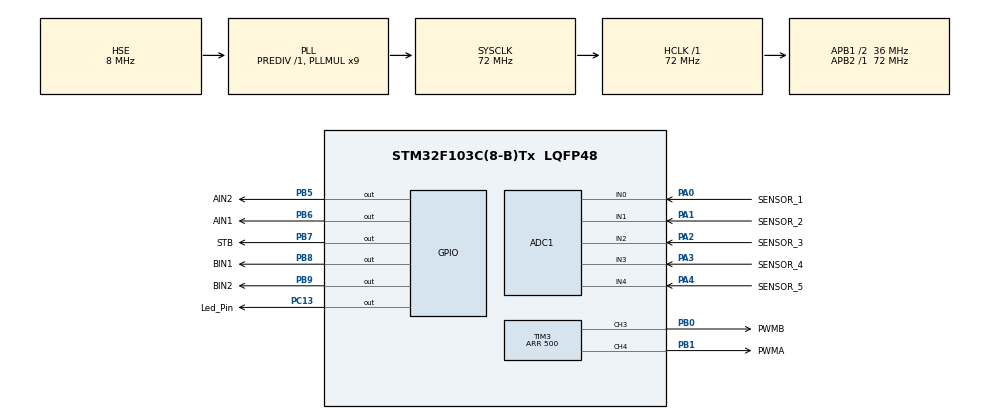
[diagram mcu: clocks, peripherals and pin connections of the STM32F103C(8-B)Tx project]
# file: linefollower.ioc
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ADC1.Channel-0\#ChannelRegularConversion=ADC_CHANNEL_0
ADC1.Channel-1\#ChannelRegularConversion=ADC_CHANNEL_1
ADC1.Channel-2\#ChannelRegularConversion=ADC_CHANNEL_2
ADC1.Channel-3\#ChannelRegularConversion=ADC_CHANNEL_3
ADC1.Channel-4\#ChannelRegularConversion=ADC_CHANNEL_4
ADC1.ContinuousConvMode=DISABLE
ADC1.DiscontinuousConvMode=DISABLE
ADC1.InjNumberOfConversion=0
ADC1.NbrOfConversion=5
ADC1.NbrOfConversionFlag=1
ADC1.Rank-0\#ChannelRegularConversion=1
ADC1.Rank-1\#ChannelRegularConversion=2
ADC1.Rank-2\#ChannelRegularConversion=3
ADC1.Rank-3\#ChannelRegularConversion=4
ADC1.Rank-4\#ChannelRegularConversion=5
ADC1.SamplingTime-0\#ChannelRegularConversion=ADC_SAMPLETIME_71CYCLES_5
ADC1.SamplingTime-1\#ChannelRegularConversion=ADC_SAMPLETIME_71CYCLES_5
ADC1.SamplingTime-2\#ChannelRegularConversion=ADC_SAMPLETIME_71CYCLES_5
ADC1.SamplingTime-3\#ChannelRegularConversion=ADC_SAMPLETIME_71CYCLES_5
ADC1.SamplingTime-4\#ChannelRegularConversion=ADC_SAMPLETIME_71CYCLES_5
ADC1.master=1
Dma.ADC1.0.Direction=DMA_PERIPH_TO_MEMORY
Dma.ADC1.0.Instance=DMA1_Channel1
Dma.ADC1.0.MemDataAlignment=DMA_MDATAALIGN_WORD
Dma.ADC1.0.MemInc=DMA_MINC_ENABLE
Dma.ADC1.0.Mode=DMA_CIRCULAR
Dma.ADC1.0.PeriphDataAlignment=DMA_PDATAALIGN_WORD
Dma.ADC1.0.PeriphInc=DMA_PINC_DISABLE
Dma.ADC1.0.Priority=DMA_PRIORITY_LOW
Dma.Request0=ADC1
Mcu.Family=STM32F1
Mcu.Name=STM32F103C(8-B)Tx
Mcu.Package=LQFP48
NVIC.ADC1_2_IRQn=true\:0\:0\:false\:false\:true\:true\:true
NVIC.DMA1_Channel1_IRQn=true\:0\:0\:false\:false\:true\:false\:true
NVIC.PriorityGroup=NVIC_PRIORITYGROUP_4
PA0-WKUP.GPIO_Label=SENSOR_1
PA0-WKUP.Signal=ADCx_IN0
PA1.GPIO_Label=SENSOR_2
PA1.Signal=ADCx_IN1
PA13.Mode=Serial_Wire
PA13.Signal=SYS_JTMS-SWDIO
PA14.Mode=Serial_Wire
PA14.Signal=SYS_JTCK-SWCLK
PA2.GPIO_Label=SENSOR_3
PA2.Signal=ADCx_IN2
PA3.GPIO_Label=SENSOR_4
PA3.Signal=ADCx_IN3
PA4.GPIO_Label=SENSOR_5
PA4.Signal=ADCx_IN4
PB0.GPIO_Label=PWMB
PB0.Signal=S_TIM3_CH3
PB1.GPIO_Label=PWMA
PB1.Signal=S_TIM3_CH4
PB5.GPIO_Label=AIN2
PB5.Signal=GPIO_Output
PB6.GPIO_Label=AIN1
PB6.Signal=GPIO_Output
PB7.GPIO_Label=STB
PB7.Signal=GPIO_Output
PB8.GPIO_Label=BIN1
PB8.Signal=GPIO_Output
PB9.GPIO_Label=BIN2
PB9.Signal=GPIO_Output
PC13-TAMPER-RTC.GPIO_Label=Led_Pin
PC13-TAMPER-RTC.GPIO_PuPd=GPIO_PULLDOWN
PC13-TAMPER-RTC.Signal=GPIO_Output
PD0-OSC_IN.Mode=HSE-External-Oscillator
PD0-OSC_IN.Signal=RCC_OSC_IN
PD1-OSC_OUT.Mode=HSE-External-Oscillator
PD1-OSC_OUT.Signal=RCC_OSC_OUT
ProjectManager.HeapSize=0x200
ProjectManager.StackSize=0x400
ProjectManager.TargetToolchain=TrueSTUDIO
RCC.AHBFreq_Value=28000000
RCC.APB1CLKDivider=RCC_HCLK_DIV2
RCC.APB1Freq_Value=36000000
RCC.APB1TimFreq_Value=72000000
RCC.APB2Freq_Value=72000000
RCC.APB2TimFreq_Value=72000000
RCC.HCLKFreq_Value=72000000
RCC.PLLMUL=RCC_PLL_MUL9
RCC.PLLSourceVirtual=RCC_PLLSOURCE_HSE
RCC.SYSCLKFreq_VALUE=72000000
RCC.SYSCLKSource=RCC_SYSCLKSOURCE_PLLCLK
RCC.USBFreq_Value=72000000
SH.ADCx_IN0.0=ADC1_IN0,IN0
SH.ADCx_IN1.0=ADC1_IN1,IN1
SH.ADCx_IN2.0=ADC1_IN2,IN2
SH.ADCx_IN3.0=ADC1_IN3,IN3
SH.ADCx_IN4.0=ADC1_IN4,IN4
SH.S_TIM3_CH3.0=TIM3_CH3,PWM Generation3 CH3
SH.S_TIM3_CH4.0=TIM3_CH4,PWM Generation4 CH4
TIM3.Channel-PWM\ Generation3\ CH3=TIM_CHANNEL_3
TIM3.Channel-PWM\ Generation4\ CH4=TIM_CHANNEL_4
TIM3.Period=500
VP_TIM3_VS_ClockSourceINT.Mode=Internal
board=custom

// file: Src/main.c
/* USER CODE BEGIN Header */
/**
  ******************************************************************************
  * @file           : main.c
  * @brief          : Main program body
  ******************************************************************************
  ** This notice applies to any and all portions of this file
  * that are not between comment pairs USER CODE BEGIN and
  * USER CODE END. Other portions of this file, whether
  * inserted by the user or by software development tools
  * are owned by their respective copyright owners.
  *
  * COPYRIGHT(c) 2019 STMicroelectronics
  *
  * Redistribution and use in source and binary forms, with or without modification,
  * are permitted provided that the following conditions are met:
  *   1. Redistributions of source code must retain the above copyright notice,
  *      this list of conditions and the following disclaimer.
  *   2. Redistributions in binary form must reproduce the above copyright notice,
  *      this list of conditions and the following disclaimer in the documentation
  *      and/or other materials provided with the distribution.
  *   3. Neither the name of STMicroelectronics nor the names of its contributors
  *      may be used to endorse or promote products derived from this software
  *      without specific prior written permission.
  *
  * THIS SOFTWARE IS PROVIDED BY THE COPYRIGHT HOLDERS AND CONTRIBUTORS "AS IS"
  * AND ANY EXPRESS OR IMPLIED WARRANTIES, INCLUDING, BUT NOT LIMITED TO, THE
  * IMPLIED WARRANTIES OF MERCHANTABILITY AND FITNESS FOR A PARTICULAR PURPOSE ARE
  * DISCLAIMED. IN NO EVENT SHALL THE COPYRIGHT HOLDER OR CONTRIBUTORS BE LIABLE
  * FOR ANY DIRECT, INDIRECT, INCIDENTAL, SPECIAL, EXEMPLARY, OR CONSEQUENTIAL
  * DAMAGES (INCLUDING, BUT NOT LIMITED TO, PROCUREMENT OF SUBSTITUTE GOODS OR
  * SERVICES; LOSS OF USE, DATA, OR PROFITS; OR BUSINESS INTERRUPTION) HOWEVER
  * CAUSED AND ON ANY THEORY OF LIABILITY, WHETHER IN CONTRACT, STRICT LIABILITY,
  * OR TORT (INCLUDING NEGLIGENCE OR OTHERWISE) ARISING IN ANY WAY OUT OF THE USE
  * OF THIS SOFTWARE, EVEN IF ADVISED OF THE POSSIBILITY OF SUCH DAMAGE.
  *
  ******************************************************************************
  */
/* USER CODE END Header */

#include "main.h"

/* USER CODE BEGIN Includes */
#include "stm32f1xx_hal.h"
#include "linefollower.h"
/* USER CODE END Includes */

ADC_HandleTypeDef hadc1;
DMA_HandleTypeDef hdma_adc1;

TIM_HandleTypeDef htim3;

/* USER CODE BEGIN PV */
uint32_t temp[5];
uint8_t flag = 0;
PD_CONTROLLER pd;
LF lf;
uint8_t sensors_tab = 0x00;
uint32_t adc = 0;
/* USER CODE END PV */

void SystemClock_Config(void);
static void MX_GPIO_Init(void);
static void MX_DMA_Init(void);
static void MX_ADC1_Init(void);
static void MX_TIM3_Init(void);

int main(void)
{

  /* MCU Configuration--------------------------------------------------------*/

  /* Reset of all peripherals, Initializes the Flash interface and the Systick. */
  HAL_Init();

  /* Configure the system clock */
  SystemClock_Config();

  /* Initialize all configured peripherals */
  MX_GPIO_Init();
  MX_DMA_Init();
  MX_ADC1_Init();
  MX_TIM3_Init();

  /* Infinite loop */
  /* USER CODE BEGIN WHILE */
  HAL_Delay(100);
  HAL_GPIO_WritePin(STB_GPIO_Port, STB_Pin, SET);
  HAL_Delay(100);
  HAL_GPIO_WritePin(AIN1_GPIO_Port, AIN1_Pin, RESET);
  HAL_GPIO_WritePin(AIN2_GPIO_Port, AIN2_Pin, SET);
  HAL_GPIO_WritePin(BIN1_GPIO_Port, BIN1_Pin, RESET);
  HAL_GPIO_WritePin(BIN2_GPIO_Port, BIN2_Pin, SET);
  __HAL_TIM_SET_COMPARE(&htim3, TIM_CHANNEL_3, lf.pulse_R);
  __HAL_TIM_SET_COMPARE(&htim3, TIM_CHANNEL_4, lf.pulse_L);
  HAL_TIM_PWM_Start(&htim3, TIM_CHANNEL_3);
  HAL_TIM_PWM_Start(&htim3, TIM_CHANNEL_4);

  HAL_ADC_Start_DMA(&hadc1, temp, 5);
  HAL_ADC_Start_IT(&hadc1);

  while (1)
  {
	  HAL_ADC_Start_IT(&hadc1);

	  if(PD_SetError(&pd, &sensors_tab) == PD_ERROR)
		  LF_Stop(&lf);
	  else
	  {
		  PD_CallculateErrorValue(&pd);
		  LF_SetPWMPulse(&lf, pd);
	  }
	  __HAL_TIM_SET_COMPARE(&htim3, TIM_CHANNEL_3, BASE_PWM_PULSE);
	  __HAL_TIM_SET_COMPARE(&htim3, TIM_CHANNEL_4, lf.pulse_L);
    /* USER CODE END WHILE */

    /* USER CODE BEGIN 3 */
	  HAL_GPIO_TogglePin(Led_Pin_GPIO_Port,Led_Pin_Pin);
	  HAL_Delay(500);
  }
  /* USER CODE END 3 */
}

void SystemClock_Config(void)
{
  RCC_OscInitTypeDef RCC_OscInitStruct = {0};
  RCC_ClkInitTypeDef RCC_ClkInitStruct = {0};
  RCC_PeriphCLKInitTypeDef PeriphClkInit = {0};

  /** Initializes the CPU, AHB and APB busses clocks
  */
  RCC_OscInitStruct.OscillatorType = RCC_OSCILLATORTYPE_HSE;
  RCC_OscInitStruct.HSEState = RCC_HSE_ON;
  RCC_OscInitStruct.HSEPredivValue = RCC_HSE_PREDIV_DIV1;
  RCC_OscInitStruct.HSIState = RCC_HSI_ON;
  RCC_OscInitStruct.PLL.PLLState = RCC_PLL_ON;
  RCC_OscInitStruct.PLL.PLLSource = RCC_PLLSOURCE_HSE;
  RCC_OscInitStruct.PLL.PLLMUL = RCC_PLL_MUL9;
  if (HAL_RCC_OscConfig(&RCC_OscInitStruct) != HAL_OK)
  {
    Error_Handler();
  }
  /** Initializes the CPU, AHB and APB busses clocks
  */
  RCC_ClkInitStruct.ClockType = RCC_CLOCKTYPE_HCLK|RCC_CLOCKTYPE_SYSCLK
                              |RCC_CLOCKTYPE_PCLK1|RCC_CLOCKTYPE_PCLK2;
  RCC_ClkInitStruct.SYSCLKSource = RCC_SYSCLKSOURCE_PLLCLK;
  RCC_ClkInitStruct.AHBCLKDivider = RCC_SYSCLK_DIV1;
  RCC_ClkInitStruct.APB1CLKDivider = RCC_HCLK_DIV2;
  RCC_ClkInitStruct.APB2CLKDivider = RCC_HCLK_DIV1;

  if (HAL_RCC_ClockConfig(&RCC_ClkInitStruct, FLASH_LATENCY_2) != HAL_OK)
  {
    Error_Handler();
  }
  PeriphClkInit.PeriphClockSelection = RCC_PERIPHCLK_ADC;
  PeriphClkInit.AdcClockSelection = RCC_ADCPCLK2_DIV6;
  if (HAL_RCCEx_PeriphCLKConfig(&PeriphClkInit) != HAL_OK)
  {
    Error_Handler();
  }
}

static void MX_ADC1_Init(void)
{

  ADC_ChannelConfTypeDef sConfig = {0};

  /** Common config
  */
  hadc1.Instance = ADC1;
  hadc1.Init.ScanConvMode = ADC_SCAN_ENABLE;
  hadc1.Init.ContinuousConvMode = DISABLE;
  hadc1.Init.DiscontinuousConvMode = DISABLE;
  hadc1.Init.ExternalTrigConv = ADC_SOFTWARE_START;
  hadc1.Init.DataAlign = ADC_DATAALIGN_RIGHT;
  hadc1.Init.NbrOfConversion = 5;
  if (HAL_ADC_Init(&hadc1) != HAL_OK)
  {
    Error_Handler();
  }
  /** Configure Regular Channel
  */
  sConfig.Channel = ADC_CHANNEL_0;
  sConfig.Rank = ADC_REGULAR_RANK_1;
  sConfig.SamplingTime = ADC_SAMPLETIME_71CYCLES_5;
  if (HAL_ADC_ConfigChannel(&hadc1, &sConfig) != HAL_OK)
  {
    Error_Handler();
  }
  /** Configure Regular Channel
  */
  sConfig.Channel = ADC_CHANNEL_1;
  sConfig.Rank = ADC_REGULAR_RANK_2;
  if (HAL_ADC_ConfigChannel(&hadc1, &sConfig) != HAL_OK)
  {
    Error_Handler();
  }
  /** Configure Regular Channel
  */
  sConfig.Channel = ADC_CHANNEL_2;
  sConfig.Rank = ADC_REGULAR_RANK_3;
  if (HAL_ADC_ConfigChannel(&hadc1, &sConfig) != HAL_OK)
  {
    Error_Handler();
  }
  /** Configure Regular Channel
  */
  sConfig.Channel = ADC_CHANNEL_3;
  sConfig.Rank = ADC_REGULAR_RANK_4;
  if (HAL_ADC_ConfigChannel(&hadc1, &sConfig) != HAL_OK)
  {
    Error_Handler();
  }
  /** Configure Regular Channel
  */
  sConfig.Channel = ADC_CHANNEL_4;
  sConfig.Rank = ADC_REGULAR_RANK_5;
  if (HAL_ADC_ConfigChannel(&hadc1, &sConfig) != HAL_OK)
  {
    Error_Handler();
  }

}

static void MX_TIM3_Init(void)
{

  TIM_MasterConfigTypeDef sMasterConfig = {0};
  TIM_OC_InitTypeDef sConfigOC = {0};

  htim3.Instance = TIM3;
  htim3.Init.Prescaler = 0;
  htim3.Init.CounterMode = TIM_COUNTERMODE_UP;

  htim3.Init.Period = 500;
  htim3.Init.ClockDivision = TIM_CLOCKDIVISION_DIV1;
  htim3.Init.AutoReloadPreload = TIM_AUTORELOAD_PRELOAD_DISABLE;

  if (HAL_TIM_PWM_Init(&htim3) != HAL_OK)
  {
    Error_Handler();
  }
  sMasterConfig.MasterOutputTrigger = TIM_TRGO_RESET;
  sMasterConfig.MasterSlaveMode = TIM_MASTERSLAVEMODE_DISABLE;
  if (HAL_TIMEx_MasterConfigSynchronization(&htim3, &sMasterConfig) != HAL_OK)
  {
    Error_Handler();
  }
  sConfigOC.OCMode = TIM_OCMODE_PWM1;
  sConfigOC.Pulse = 0;
  sConfigOC.OCPolarity = TIM_OCPOLARITY_HIGH;
  sConfigOC.OCFastMode = TIM_OCFAST_DISABLE;
  if (HAL_TIM_PWM_ConfigChannel(&htim3, &sConfigOC, TIM_CHANNEL_3) != HAL_OK)
  {
    Error_Handler();
  }
  if (HAL_TIM_PWM_ConfigChannel(&htim3, &sConfigOC, TIM_CHANNEL_4) != HAL_OK)
  {
    Error_Handler();
  }
  HAL_TIM_MspPostInit(&htim3);

}

static void MX_DMA_Init(void)
{
  /* DMA controller clock enable */
  __HAL_RCC_DMA1_CLK_ENABLE();

  /* DMA interrupt init */
  /* DMA1_Channel1_IRQn interrupt configuration */
  HAL_NVIC_SetPriority(DMA1_Channel1_IRQn, 0, 0);
  HAL_NVIC_EnableIRQ(DMA1_Channel1_IRQn);

}

static void MX_GPIO_Init(void)
{
  GPIO_InitTypeDef GPIO_InitStruct = {0};

  /* GPIO Ports Clock Enable */
  __HAL_RCC_GPIOC_CLK_ENABLE();
  __HAL_RCC_GPIOD_CLK_ENABLE();
  __HAL_RCC_GPIOA_CLK_ENABLE();
  __HAL_RCC_GPIOB_CLK_ENABLE();

  /*Configure GPIO pin Output Level */
  HAL_GPIO_WritePin(Led_Pin_GPIO_Port, Led_Pin_Pin, GPIO_PIN_RESET);

  /*Configure GPIO pin Output Level */
  HAL_GPIO_WritePin(GPIOB, AIN2_Pin|AIN1_Pin|STB_Pin|BIN1_Pin
                          |BIN2_Pin, GPIO_PIN_RESET);

  /*Configure GPIO pin : Led_Pin_Pin */
  GPIO_InitStruct.Pin = Led_Pin_Pin;
  GPIO_InitStruct.Mode = GPIO_MODE_OUTPUT_PP;
  GPIO_InitStruct.Pull = GPIO_PULLDOWN;
  GPIO_InitStruct.Speed = GPIO_SPEED_FREQ_LOW;
  HAL_GPIO_Init(Led_Pin_GPIO_Port, &GPIO_InitStruct);

  /*Configure GPIO pins : AIN2_Pin AIN1_Pin STB_Pin BIN1_Pin
                           BIN2_Pin */
  GPIO_InitStruct.Pin = AIN2_Pin|AIN1_Pin|STB_Pin|BIN1_Pin
                          |BIN2_Pin;
  GPIO_InitStruct.Mode = GPIO_MODE_OUTPUT_PP;
  GPIO_InitStruct.Pull = GPIO_NOPULL;
  GPIO_InitStruct.Speed = GPIO_SPEED_FREQ_LOW;
  HAL_GPIO_Init(GPIOB, &GPIO_InitStruct);

}

/* USER CODE BEGIN 4 */
void ReadSensors()
{

}

void HAL_ADC_ConvCpltCallback(ADC_HandleTypeDef* hadc)
{
	sensors_tab = 0;
	if(temp[4] < ADC_THRESHOLD)
		sensors_tab |= 1;
	sensors_tab<<=1;
	if(temp[3] < ADC_THRESHOLD)
		sensors_tab |= 1;
	sensors_tab<<=1;
	if(temp[2] < ADC_THRESHOLD)
		sensors_tab |= 1;
	sensors_tab<<=1;
	if(temp[1] < ADC_THRESHOLD)
		sensors_tab |= 1;
	sensors_tab<<=1;
	if(temp[0] < ADC_THRESHOLD)
		sensors_tab |= 1;

}
/* USER CODE END 4 */

void Error_Handler(void)
{
}

/************************ (C) COPYRIGHT STMicroelectronics *****END OF FILE****/
